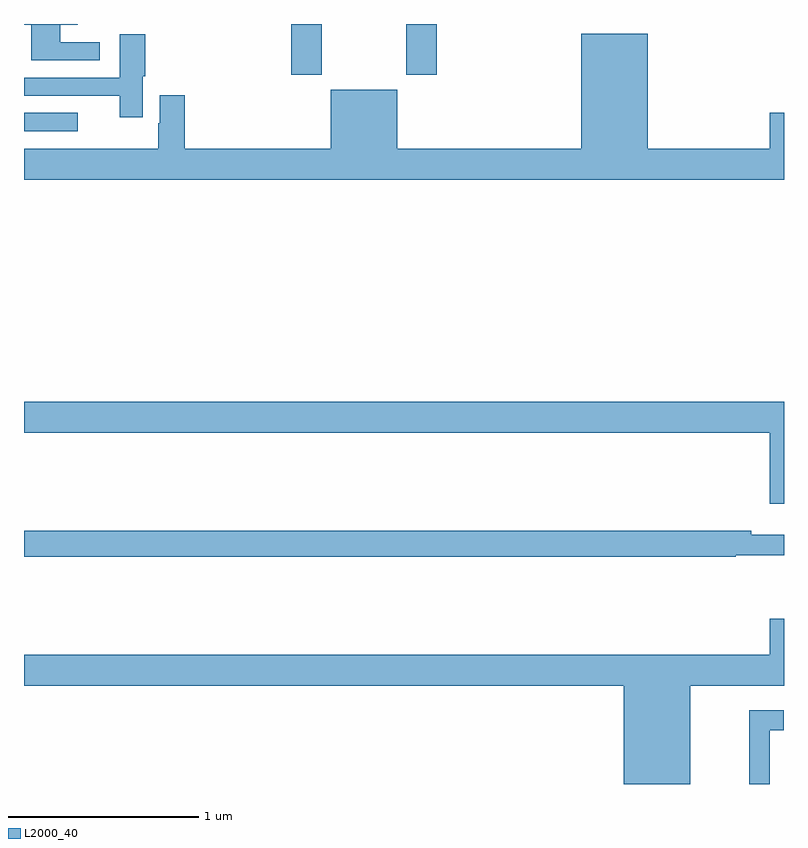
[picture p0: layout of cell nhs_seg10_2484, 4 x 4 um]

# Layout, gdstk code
import gdstk
lib = gdstk.Library(unit=1e-6, precision=1e-09)
def R(c, l, rs):  # rectangles x0, y0, x1, y1
    for r in rs: c.add(gdstk.rectangle(r[:2], r[2:], *l))
def P(c, l, *ps):  # polygons
    for p in ps: c.add(gdstk.Polygon(p, *l))
L2000_40 = (2000, 40)

nhs_seg10_2484 = lib.new_cell('nhs_seg10_2484')
R(nhs_seg10_2484, L2000_40, [(245,1269.936,245.284,1270.032), (246.407,1270.233,246.567,1270.5), (247.012,1270.233,247.172,1270.5)])
P(nhs_seg10_2484, L2000_40, [(245.398,1270.404),(245.19,1270.404),(245.19,1270.496),(245.284,1270.496),(245.284,1270.5),(245,1270.5),(245,1270.496),(245.039,1270.496),(245.039,1270.308),(245.398,1270.308)],
  [(249,1270.033),(248.924,1270.033),(248.924,1269.844),(248.284,1269.844),(248.284,1270.45),(247.934,1270.45),(247.934,1269.844),(246.964,1269.844),(246.964,1270.153),(246.614,1270.153),(246.614,1269.844),(245.846,1269.844),(245.846,1270.126),(245.714,1270.126),(245.714,1269.977),(245.707,1269.977),(245.707,1269.844),(245,1269.844),(245,1269.68),(249,1269.68)],
  [(245.626,1270.225),(245.639,1270.225),(245.639,1270.447),(245.504,1270.447),(245.504,1270.218),(245,1270.218),(245,1270.122),(245.504,1270.122),(245.504,1270.008),(245.626,1270.008)],
  [(249,1268.512),(245,1268.512),(245,1268.348),(248.924,1268.348),(248.924,1267.974),(249,1267.974)],
  [(248.745,1267.704),(249,1267.704),(249,1267.813),(248.828,1267.813),(248.828,1267.832),(245,1267.832),(245,1267.696),(248.745,1267.696)],
  [(248.506,1267.016),(249,1267.016),(249,1267.369),(248.924,1267.369),(248.924,1267.18),(245,1267.18),(245,1267.016),(248.156,1267.016),(248.156,1266.5),(248.506,1266.5)],
  [(248.925,1266.783),(248.998,1266.783),(248.998,1266.889),(248.817,1266.889),(248.817,1266.5),(248.925,1266.5)])

lib.write_gds('nhs_seg10_2484.gds')
